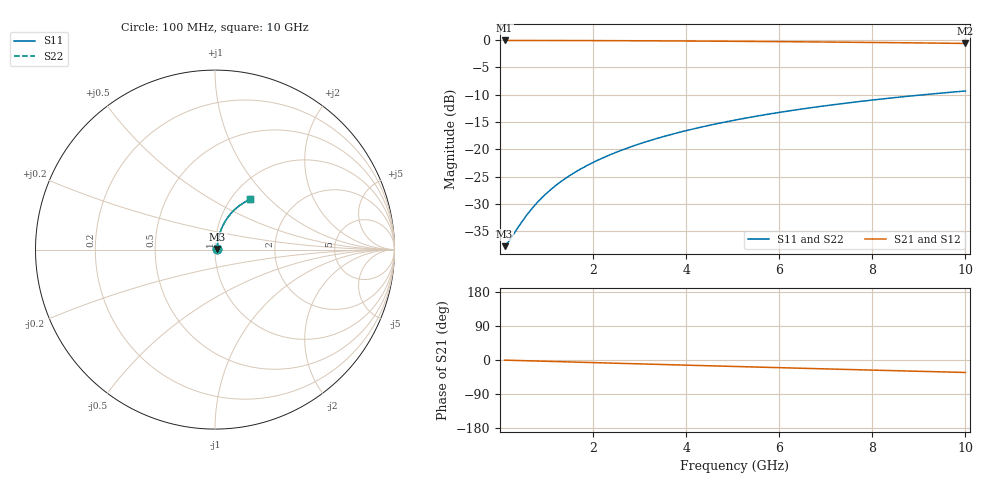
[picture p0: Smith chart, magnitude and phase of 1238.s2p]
# Hz S RI R 50.00
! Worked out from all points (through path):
!   100 points, 100 MHz to 10 GHz, reference 50 ohm
!   highest |S21| = -0.11 dB at 100 MHz (marker M1); lowest = -0.7 dB at 10 GHz (marker M2)
!   group delay of S21, straight-line fit = 9.16 ps
!   lowest |S11| = -37.7 dB at 100 MHz (marker M3), VSWR 1.03, Z = 51.3 + j0.377 ohm
!   |S11| at or under -10 dB: start of sweep to 9.141 GHz
!   |S22| runs from -37.7 to -9.3 dB; largest |S21 - S12| = 0
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1e8  0.0125 0.00367  0.9875 -0.0059  0.9875 -0.0059  0.0125 0.00367
2e8  0.0126 0.00735  0.9873 -0.0118  0.9873 -0.0118  0.0126 0.00735
5e8  0.0132 0.0183  0.9867 -0.0295  0.9867 -0.0295  0.0132 0.0183
6e8  0.0135 0.022  0.9864 -0.0353  0.9864 -0.0353  0.0135 0.022
7e8  0.0138 0.0257  0.986 -0.0412  0.986 -0.0412  0.0138 0.0257
9e8  0.0146 0.033  0.9852 -0.053  0.9852 -0.053  0.0146 0.033
1.1e9  0.0155 0.0402  0.9842 -0.0647  0.9842 -0.0647  0.0155 0.0402
1.3e9  0.0166 0.0475  0.9829 -0.0764  0.9829 -0.0764  0.0166 0.0475
1.5e9  0.0179 0.0547  0.9815 -0.088  0.9815 -0.088  0.0179 0.0547
1.8e9  0.0201 0.0654  0.9791 -0.1055  0.9791 -0.1055  0.0201 0.0654
2.1e9  0.0227 0.0761  0.9762 -0.1228  0.9762 -0.1228  0.0227 0.0761
2.5e9  0.0267 0.0901  0.9717 -0.1457  0.9717 -0.1457  0.0267 0.0901
2.9e9  0.0313 0.1039  0.9665 -0.1684  0.9665 -0.1684  0.0313 0.1039
3.4e9  0.038 0.1207  0.959 -0.1964  0.959 -0.1964  0.038 0.1207
3.8e9  0.0441 0.1338  0.9523 -0.2184  0.9523 -0.2184  0.0441 0.1338
4.2e9  0.0507 0.1466  0.9448 -0.2401  0.9448 -0.2401  0.0507 0.1466
5.1e9  0.0676 0.1739  0.9258 -0.2876  0.9258 -0.2876  0.0676 0.1739
5.9e9  0.0848 0.1963  0.9064 -0.328  0.9064 -0.328  0.0848 0.1963
6.7e9  0.1037 0.2169  0.8848 -0.3665  0.8848 -0.3665  0.1037 0.2169
7.5e9  0.1242 0.2354  0.8614 -0.4031  0.8614 -0.4031  0.1242 0.2354
8.4e9  0.1487 0.2537  0.8332 -0.4418  0.8332 -0.4418  0.1487 0.2537
1e10  0.1954 0.2794  0.7788 -0.5039  0.7788 -0.5039  0.1954 0.2794
